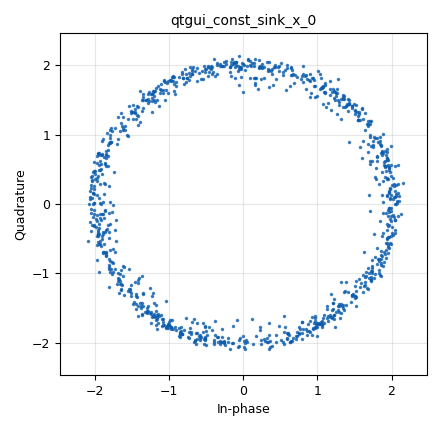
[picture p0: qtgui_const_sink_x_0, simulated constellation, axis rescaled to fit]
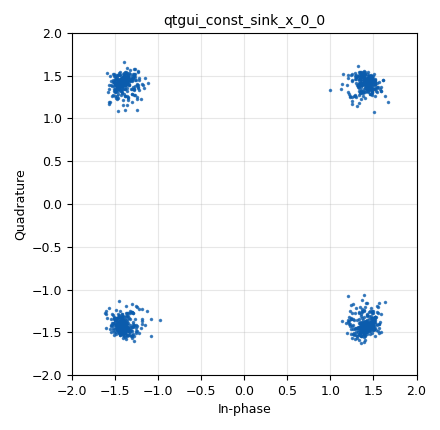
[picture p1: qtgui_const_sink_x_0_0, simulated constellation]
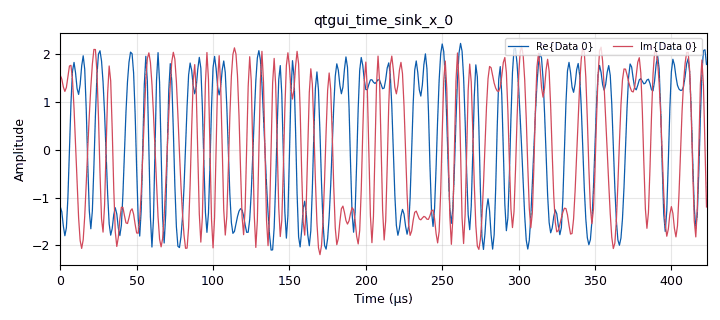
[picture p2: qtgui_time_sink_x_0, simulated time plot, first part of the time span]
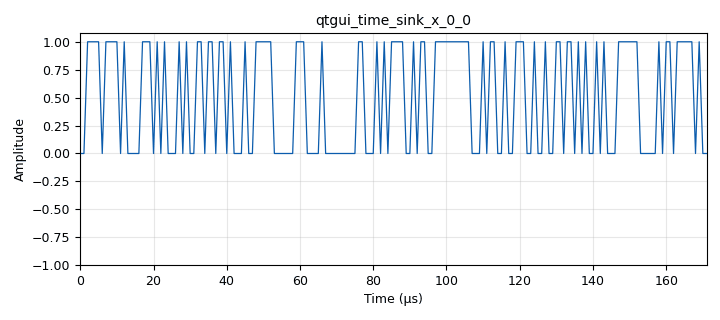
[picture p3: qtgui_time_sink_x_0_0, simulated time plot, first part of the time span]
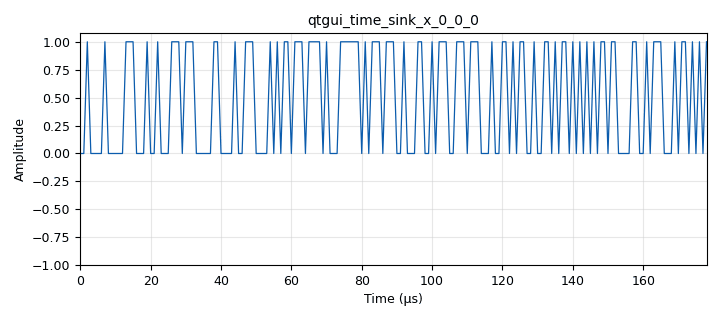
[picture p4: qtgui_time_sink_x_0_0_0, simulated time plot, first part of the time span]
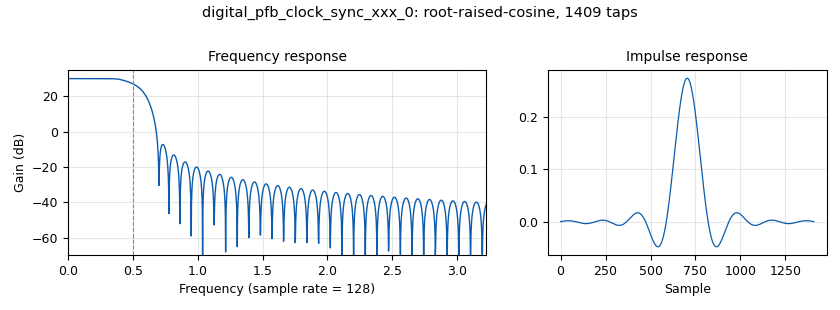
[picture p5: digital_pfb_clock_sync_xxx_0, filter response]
options:
  parameters:
    author: awlienware
    generate_options: qt_gui
    id: BPSK
    output_language: python
    title: 2022303180吴魁
  states: {}

blocks:
- name: adaptive_algorithm
  id: variable_adaptive_algorithm
  parameters:
    cons: mpsk
    modulus: order
    step_size: '.0001'
    type: cma
  states: {}
- name: delay
  id: variable_qtgui_range
  parameters:
    rangeType: int
    start: '-1000'
    step: '1'
    stop: '1000'
    value: '50'
  states: {}
- name: excess_bw
  id: variable
  parameters:
    value: '350e-3'
  states: {}
- name: f_offset
  id: variable_qtgui_range
  parameters:
    start: '0'
    step: '1e-3'
    stop: '1'
    value: '10e-3'
  states: {}
- name: loop_bw
  id: variable_qtgui_range
  parameters:
    start: '31.4e-3'
    step: '100e-6'
    stop: '62.8e-3'
    value: '62.8e-3'
  states: {}
- name: mpsk
  id: variable_constellation
  parameters:
    precision: '8'
    type: qpsk
  states: {}
- name: nfilts
  id: variable
  parameters:
    value: '32'
  states: {}
- name: noise
  id: variable_qtgui_range
  parameters:
    start: '0'
    step: '1e-2'
    stop: '1'
    value: '100e-3'
  states: {}
- name: order
  id: variable
  parameters:
    value: '4'
  states: {}
- name: rrc_taps
  id: variable_rrc_filter_taps
  parameters:
    alpha: '0.35'
    gain: '32'
    ntaps: '1408'
    samp_rate: '128'
    sym_rate: '1'
  states: {}
- name: samp_rate
  id: variable
  parameters:
    value: '1000000'
  states: {}
- name: sps
  id: variable
  parameters:
    value: '4'
  states: {}
- name: analog_random_source_x_0
  id: analog_random_source_x
  parameters:
    max: '2'
    min: '0'
    num_samps: '1024'
    repeat: 'True'
    type: byte
  states: {}
- name: blocks_char_to_float_0
  id: blocks_char_to_float
  parameters:
    scale: '1'
  states: {}
- name: blocks_char_to_float_0_0
  id: blocks_char_to_float
  parameters:
    scale: '1'
  states: {}
- name: blocks_delay_0
  id: blocks_delay
  parameters:
    delay: delay
    showports: 'True'
    type: float
  states: {}
- name: blocks_pack_k_bits_bb_0
  id: blocks_pack_k_bits_bb
  parameters:
    k: '8'
  states: {}
- name: channels_channel_model_0
  id: channels_channel_model
  parameters:
    epsilon: '1'
    freq_offset: f_offset
    noise_voltage: noise
    seed: '0'
    taps: 1+1j
  states: {}
- name: digital_constellation_decoder_cb_0
  id: digital_constellation_decoder_cb
  parameters:
    constellation: mpsk
  states: {}
- name: digital_constellation_modulator_0
  id: digital_constellation_modulator
  parameters:
    constellation: mpsk
    differential: 'False'
    excess_bw: excess_bw
    samples_per_symbol: sps
    verbose: 'True'
  states: {}
- name: digital_costas_loop_cc_0
  id: digital_costas_loop_cc
  parameters:
    order: order
    w: loop_bw
  states: {}
- name: digital_diff_decoder_bb_0
  id: digital_diff_decoder_bb
  parameters:
    coding: digital.DIFF_DIFFERENTIAL
    modulus: '2'
  states: {}
- name: digital_diff_encoder_bb_0
  id: digital_diff_encoder_bb
  parameters:
    coding: digital.DIFF_DIFFERENTIAL
    modulus: '2'
  states: {}
- name: digital_linear_equalizer_0
  id: digital_linear_equalizer
  parameters:
    alg: adaptive_algorithm
    num_taps: '15'
    sps: sps
  states: {}
- name: digital_pfb_clock_sync_xxx_0
  id: digital_pfb_clock_sync_xxx
  parameters:
    filter_size: '32'
    init_phase: '16'
    loop_bw: loop_bw
    max_dev: '1.5'
    osps: sps
    sps: sps
    taps: rrc_taps
    type: ccf
  states: {}
- name: qtgui_const_sink_x_0
  id: qtgui_const_sink_x
  parameters:
    gui_hint: 0,0,1,1
    size: '1024'
    type: complex
  states: {}
- name: qtgui_const_sink_x_0_0
  id: qtgui_const_sink_x
  parameters:
    gui_hint: 0,1,1,1
    size: '1024'
    type: complex
  states: {}
- name: qtgui_time_sink_x_0
  id: qtgui_time_sink_x
  parameters:
    autoscale: 'True'
    size: '1024'
    srate: samp_rate
    type: complex
  states: {}
- name: qtgui_time_sink_x_0_0
  id: qtgui_time_sink_x
  parameters:
    grid: 'True'
    size: '1024'
    srate: samp_rate
    type: float
  states: {}
- name: qtgui_time_sink_x_0_0_0
  id: qtgui_time_sink_x
  parameters:
    grid: 'True'
    size: '1024'
    srate: samp_rate
    type: float
  states: {}

connections:
- [analog_random_source_x_0, '0', blocks_char_to_float_0_0, '0']
- [analog_random_source_x_0, '0', digital_diff_encoder_bb_0, '0']
- [blocks_char_to_float_0, '0', qtgui_time_sink_x_0_0, '0']
- [blocks_char_to_float_0_0, '0', blocks_delay_0, '0']
- [blocks_delay_0, '0', qtgui_time_sink_x_0_0_0, '0']
- [blocks_pack_k_bits_bb_0, '0', digital_constellation_modulator_0, '0']
- [channels_channel_model_0, '0', digital_pfb_clock_sync_xxx_0, '0']
- [digital_constellation_decoder_cb_0, '0', digital_diff_decoder_bb_0, '0']
- [digital_constellation_modulator_0, '0', channels_channel_model_0, '0']
- [digital_constellation_modulator_0, '0', qtgui_time_sink_x_0, '0']
- [digital_costas_loop_cc_0, '0', digital_constellation_decoder_cb_0, '0']
- [digital_costas_loop_cc_0, '0', qtgui_const_sink_x_0_0, '0']
- [digital_diff_decoder_bb_0, '0', blocks_char_to_float_0, '0']
- [digital_diff_encoder_bb_0, '0', blocks_pack_k_bits_bb_0, '0']
- [digital_linear_equalizer_0, '0', digital_costas_loop_cc_0, '0']
- [digital_linear_equalizer_0, '0', qtgui_const_sink_x_0, '0']
- [digital_pfb_clock_sync_xxx_0, '0', digital_linear_equalizer_0, '0']

metadata:
  file_format: 1
  grc_version: 3.10.12.0
